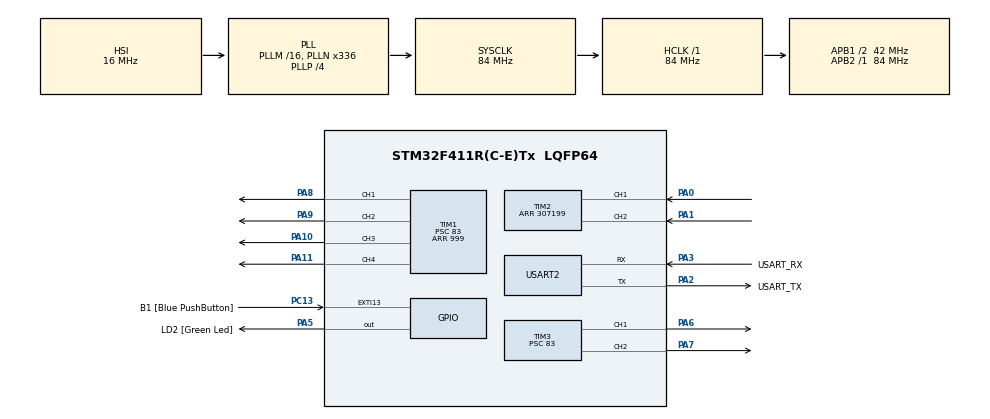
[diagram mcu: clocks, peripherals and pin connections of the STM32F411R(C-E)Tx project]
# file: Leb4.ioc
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Mcu.Family=STM32F4
Mcu.Name=STM32F411R(C-E)Tx
Mcu.Package=LQFP64
Mcu.UserConstants=A,307199
NVIC.PriorityGroup=NVIC_PRIORITYGROUP_0
NVIC.TIM5_IRQn=true\:0\:0\:false\:false\:true\:true\:true\:true
PA0-WKUP.Signal=S_TIM2_CH1_ETR
PA1.Signal=S_TIM2_CH2
PA10.Signal=S_TIM1_CH3
PA11.Signal=S_TIM1_CH4
PA13.GPIO_Label=TMS
PA13.Mode=Serial_Wire
PA13.Signal=SYS_JTMS-SWDIO
PA14.GPIO_Label=TCK
PA14.Mode=Serial_Wire
PA14.Signal=SYS_JTCK-SWCLK
PA2.GPIO_Label=USART_TX
PA2.Mode=Asynchronous
PA2.Signal=USART2_TX
PA3.GPIO_Label=USART_RX
PA3.Mode=Asynchronous
PA3.Signal=USART2_RX
PA5.GPIO_Label=LD2 [Green Led]
PA5.Signal=GPIO_Output
PA6.Signal=S_TIM3_CH1
PA7.Signal=S_TIM3_CH2
PA8.Signal=S_TIM1_CH1
PA9.Signal=S_TIM1_CH2
PB3.GPIO_Label=SWO
PB3.Signal=SYS_JTDO-SWO
PC13-ANTI_TAMP.GPIO_Label=B1 [Blue PushButton]
PC13-ANTI_TAMP.GPIO_ModeDefaultEXTI=GPIO_MODE_IT_FALLING
PC13-ANTI_TAMP.Signal=GPXTI13
PC14-OSC32_IN.Mode=LSE-External-Oscillator
PC14-OSC32_IN.Signal=RCC_OSC32_IN
PC15-OSC32_OUT.Mode=LSE-External-Oscillator
PC15-OSC32_OUT.Signal=RCC_OSC32_OUT
PH0\ -\ OSC_IN.Mode=HSE-External-Clock-Source
PH0\ -\ OSC_IN.Signal=RCC_OSC_IN
PH1\ -\ OSC_OUT.Mode=HSE-External-Clock-Source
PH1\ -\ OSC_OUT.Signal=RCC_OSC_OUT
ProjectManager.HeapSize=0x200
ProjectManager.StackSize=0x400
ProjectManager.TargetToolchain=STM32CubeIDE
RCC.48MHZClocksFreq_Value=84000000
RCC.AHBFreq_Value=84000000
RCC.APB1CLKDivider=RCC_HCLK_DIV2
RCC.APB1Freq_Value=42000000
RCC.APB1TimFreq_Value=84000000
RCC.APB2Freq_Value=84000000
RCC.APB2TimFreq_Value=84000000
RCC.CortexFreq_Value=84000000
RCC.FLatency-AdvancedSettings=FLASH_LATENCY_2
RCC.HCLKFreq_Value=84000000
RCC.HSE_VALUE=8000000
RCC.HSI_VALUE=16000000
RCC.PLLN=336
RCC.PLLP=RCC_PLLP_DIV4
RCC.SYSCLKFreq_VALUE=84000000
RCC.SYSCLKSource=RCC_SYSCLKSOURCE_PLLCLK
RCC.VCOOutputFreq_Value=336000000
SH.S_TIM1_CH1.0=TIM1_CH1,PWM Generation1 CH1
SH.S_TIM1_CH2.0=TIM1_CH2,PWM Generation2 CH2
SH.S_TIM1_CH3.0=TIM1_CH3,PWM Generation3 CH3
SH.S_TIM1_CH4.0=TIM1_CH4,PWM Generation4 CH4
SH.S_TIM2_CH1_ETR.0=TIM2_CH1,Encoder_Interface
SH.S_TIM2_CH2.0=TIM2_CH2,Encoder_Interface
SH.S_TIM3_CH1.0=TIM3_CH1,PWM Generation1 CH1
SH.S_TIM3_CH2.0=TIM3_CH2,PWM Generation2 CH2
TIM1.Channel-PWM\ Generation1\ CH1=TIM_CHANNEL_1
TIM1.Channel-PWM\ Generation2\ CH2=TIM_CHANNEL_2
TIM1.Channel-PWM\ Generation3\ CH3=TIM_CHANNEL_3
TIM1.Channel-PWM\ Generation4\ CH4=TIM_CHANNEL_4
TIM1.Period=999
TIM1.Prescaler=83
TIM1.Pulse-PWM\ Generation1\ CH1=1000
TIM1.Pulse-PWM\ Generation3\ CH3=500
TIM1.Pulse-PWM\ Generation4\ CH4=500
TIM2.EncoderMode=TIM_ENCODERMODE_TI12
TIM2.Period=307199
TIM3.Channel-PWM\ Generation1\ CH1=TIM_CHANNEL_1
TIM3.Channel-PWM\ Generation2\ CH2=TIM_CHANNEL_2
TIM3.Period=999
TIM3.Prescaler=83
USART2.VirtualMode=VM_ASYNC
VP_TIM1_VS_ClockSourceINT.Mode=Internal
VP_TIM3_VS_ClockSourceINT.Mode=Internal
VP_TIM5_VS_ClockSourceINT.Mode=Internal
board=NUCLEO-F411RE

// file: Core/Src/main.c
/* USER CODE BEGIN Header */
/**
  ******************************************************************************
  * @file           : main.c
  * @brief          : Main program body
  ******************************************************************************
  * @attention
  *
  * Copyright (c) 2023 STMicroelectronics.
  * All rights reserved.
  *
  * This software is licensed under terms that can be found in the LICENSE file
  * in the root directory of this software component.
  * If no LICENSE file comes with this software, it is provided AS-IS.
  *
  ******************************************************************************
  */
/* USER CODE END Header */
#include "main.h"

/* USER CODE BEGIN Includes */
#include "arm_math.h"
/* USER CODE END Includes */

TIM_HandleTypeDef htim1;
TIM_HandleTypeDef htim2;
TIM_HandleTypeDef htim3;
TIM_HandleTypeDef htim5;

UART_HandleTypeDef huart2;

/* USER CODE BEGIN PV */
uint32_t QEIReadRaw;
arm_pid_instance_f32 PID = {0};
float position = 0;
float setposition = 0;
float pwmfirst = 0 ;
uint16_t p;
 //counter 999
/* USER CODE END PV */

void SystemClock_Config(void);
static void MX_GPIO_Init(void);
static void MX_USART2_UART_Init(void);
static void MX_TIM2_Init(void);
static void MX_TIM5_Init(void);
static void MX_TIM1_Init(void);
static void MX_TIM3_Init(void);

int main(void)
{

  /* MCU Configuration--------------------------------------------------------*/

  /* Reset of all peripherals, Initializes the Flash interface and the Systick. */

	HAL_Init();

  /* Configure the system clock */
  SystemClock_Config();

  /* Initialize all configured peripherals */
  MX_GPIO_Init();
  MX_USART2_UART_Init();
  MX_TIM2_Init();
  MX_TIM5_Init();
  MX_TIM1_Init();
  MX_TIM3_Init();
  /* USER CODE BEGIN 2 */
  PID.Kp = 10;
  PID.Ki = 0.0000001;
  PID.Kd = 1;
  arm_pid_init_f32(&PID,0);
  HAL_TIM_Encoder_Start(&htim2,TIM_CHANNEL_1|TIM_CHANNEL_2);
  HAL_TIM_Base_Start(&htim1); //
  HAL_TIM_PWM_Start(&htim1, TIM_CHANNEL_3);
  HAL_TIM_PWM_Start(&htim1, TIM_CHANNEL_4);

  /* USER CODE END 2 */

  /* Infinite loop */
  while (1)
  {

    /* USER CODE BEGIN 3 */
	  static uint32_t timestamp = 0;
	  if (timestamp <= HAL_GetTick() )
	  {
		  timestamp = HAL_GetTick()+10;

		  QEIReadRaw = __HAL_TIM_GET_COUNTER(&htim2);
		  position = QEIReadRaw*360/3072.0;

		  pwmfirst = arm_pid_f32 (&PID, setposition-position);
//		  __HAL_TIM_SET_COMPARE(&htim1, TIM_CHANNEL_3, pwmfirst);
//		  __HAL_TIM_SET_COMPARE(&htim1, TIM_CHANNEL_4,0);

		  if (pwmfirst>=999)
		  {
			  pwmfirst = 1000;
		  }
		  else if (pwmfirst<=-999)
		  {
			  pwmfirst  = -1000;
		  }
		  if (position < setposition)
		  {
			  __HAL_TIM_SET_COMPARE(&htim1, TIM_CHANNEL_3,pwmfirst);
			  __HAL_TIM_SET_COMPARE(&htim1, TIM_CHANNEL_4,0);
			  p = 1;
		  }
		  else if (position > setposition)
		  {

			  __HAL_TIM_SET_COMPARE(&htim1, TIM_CHANNEL_3,0);
			  __HAL_TIM_SET_COMPARE(&htim1, TIM_CHANNEL_4,pwmfirst*-1);
			  p = 2;
		  }
		  else if (position+2 == 36000)
		  {
			  __HAL_TIM_SET_COMPARE(&htim1, TIM_CHANNEL_3,0);
			  __HAL_TIM_SET_COMPARE(&htim1, TIM_CHANNEL_4,0);
		  }
		  else if ((position) == (setposition-2))
		  {
			  __HAL_TIM_SET_COMPARE(&htim1, TIM_CHANNEL_3,0);
			  __HAL_TIM_SET_COMPARE(&htim1, TIM_CHANNEL_4,0);
		  }

	  }

  }
  /* USER CODE END 3 */
}

void SystemClock_Config(void)
{
  RCC_OscInitTypeDef RCC_OscInitStruct = {0};
  RCC_ClkInitTypeDef RCC_ClkInitStruct = {0};

  /** Configure the main internal regulator output voltage
  */
  __HAL_RCC_PWR_CLK_ENABLE();
  __HAL_PWR_VOLTAGESCALING_CONFIG(PWR_REGULATOR_VOLTAGE_SCALE1);

  /** Initializes the RCC Oscillators according to the specified parameters
  * in the RCC_OscInitTypeDef structure.
  */
  RCC_OscInitStruct.OscillatorType = RCC_OSCILLATORTYPE_HSI;
  RCC_OscInitStruct.HSIState = RCC_HSI_ON;
  RCC_OscInitStruct.HSICalibrationValue = RCC_HSICALIBRATION_DEFAULT;
  RCC_OscInitStruct.PLL.PLLState = RCC_PLL_ON;
  RCC_OscInitStruct.PLL.PLLSource = RCC_PLLSOURCE_HSI;
  RCC_OscInitStruct.PLL.PLLM = 16;
  RCC_OscInitStruct.PLL.PLLN = 336;
  RCC_OscInitStruct.PLL.PLLP = RCC_PLLP_DIV4;
  RCC_OscInitStruct.PLL.PLLQ = 4;
  if (HAL_RCC_OscConfig(&RCC_OscInitStruct) != HAL_OK)
  {
    Error_Handler();
  }

  /** Initializes the CPU, AHB and APB buses clocks
  */
  RCC_ClkInitStruct.ClockType = RCC_CLOCKTYPE_HCLK|RCC_CLOCKTYPE_SYSCLK
                              |RCC_CLOCKTYPE_PCLK1|RCC_CLOCKTYPE_PCLK2;
  RCC_ClkInitStruct.SYSCLKSource = RCC_SYSCLKSOURCE_PLLCLK;
  RCC_ClkInitStruct.AHBCLKDivider = RCC_SYSCLK_DIV1;
  RCC_ClkInitStruct.APB1CLKDivider = RCC_HCLK_DIV2;
  RCC_ClkInitStruct.APB2CLKDivider = RCC_HCLK_DIV1;

  if (HAL_RCC_ClockConfig(&RCC_ClkInitStruct, FLASH_LATENCY_2) != HAL_OK)
  {
    Error_Handler();
  }
}

static void MX_TIM1_Init(void)
{

  TIM_ClockConfigTypeDef sClockSourceConfig = {0};
  TIM_MasterConfigTypeDef sMasterConfig = {0};
  TIM_OC_InitTypeDef sConfigOC = {0};
  TIM_BreakDeadTimeConfigTypeDef sBreakDeadTimeConfig = {0};

  htim1.Instance = TIM1;
  htim1.Init.Prescaler = 83;
  htim1.Init.CounterMode = TIM_COUNTERMODE_UP;
  htim1.Init.Period = 999;
  htim1.Init.ClockDivision = TIM_CLOCKDIVISION_DIV1;
  htim1.Init.RepetitionCounter = 0;
  htim1.Init.AutoReloadPreload = TIM_AUTORELOAD_PRELOAD_DISABLE;
  if (HAL_TIM_Base_Init(&htim1) != HAL_OK)
  {
    Error_Handler();
  }
  sClockSourceConfig.ClockSource = TIM_CLOCKSOURCE_INTERNAL;
  if (HAL_TIM_ConfigClockSource(&htim1, &sClockSourceConfig) != HAL_OK)
  {
    Error_Handler();
  }
  if (HAL_TIM_PWM_Init(&htim1) != HAL_OK)
  {
    Error_Handler();
  }
  sMasterConfig.MasterOutputTrigger = TIM_TRGO_RESET;
  sMasterConfig.MasterSlaveMode = TIM_MASTERSLAVEMODE_DISABLE;
  if (HAL_TIMEx_MasterConfigSynchronization(&htim1, &sMasterConfig) != HAL_OK)
  {
    Error_Handler();
  }
  sConfigOC.OCMode = TIM_OCMODE_PWM1;
  sConfigOC.Pulse = 1000;
  sConfigOC.OCPolarity = TIM_OCPOLARITY_HIGH;
  sConfigOC.OCNPolarity = TIM_OCNPOLARITY_HIGH;
  sConfigOC.OCFastMode = TIM_OCFAST_DISABLE;
  sConfigOC.OCIdleState = TIM_OCIDLESTATE_RESET;
  sConfigOC.OCNIdleState = TIM_OCNIDLESTATE_RESET;
  if (HAL_TIM_PWM_ConfigChannel(&htim1, &sConfigOC, TIM_CHANNEL_1) != HAL_OK)
  {
    Error_Handler();
  }
  sConfigOC.Pulse = 0;
  if (HAL_TIM_PWM_ConfigChannel(&htim1, &sConfigOC, TIM_CHANNEL_2) != HAL_OK)
  {
    Error_Handler();
  }
  sConfigOC.Pulse = 500;
  if (HAL_TIM_PWM_ConfigChannel(&htim1, &sConfigOC, TIM_CHANNEL_3) != HAL_OK)
  {
    Error_Handler();
  }
  if (HAL_TIM_PWM_ConfigChannel(&htim1, &sConfigOC, TIM_CHANNEL_4) != HAL_OK)
  {
    Error_Handler();
  }
  sBreakDeadTimeConfig.OffStateRunMode = TIM_OSSR_DISABLE;
  sBreakDeadTimeConfig.OffStateIDLEMode = TIM_OSSI_DISABLE;
  sBreakDeadTimeConfig.LockLevel = TIM_LOCKLEVEL_OFF;
  sBreakDeadTimeConfig.DeadTime = 0;
  sBreakDeadTimeConfig.BreakState = TIM_BREAK_DISABLE;
  sBreakDeadTimeConfig.BreakPolarity = TIM_BREAKPOLARITY_HIGH;
  sBreakDeadTimeConfig.AutomaticOutput = TIM_AUTOMATICOUTPUT_DISABLE;
  if (HAL_TIMEx_ConfigBreakDeadTime(&htim1, &sBreakDeadTimeConfig) != HAL_OK)
  {
    Error_Handler();
  }
  HAL_TIM_MspPostInit(&htim1);

}

static void MX_TIM2_Init(void)
{

  TIM_Encoder_InitTypeDef sConfig = {0};
  TIM_MasterConfigTypeDef sMasterConfig = {0};

  htim2.Instance = TIM2;
  htim2.Init.Prescaler = 0;
  htim2.Init.CounterMode = TIM_COUNTERMODE_UP;
  htim2.Init.Period = 307199;
  htim2.Init.ClockDivision = TIM_CLOCKDIVISION_DIV1;
  htim2.Init.AutoReloadPreload = TIM_AUTORELOAD_PRELOAD_DISABLE;
  sConfig.EncoderMode = TIM_ENCODERMODE_TI12;
  sConfig.IC1Polarity = TIM_ICPOLARITY_RISING;
  sConfig.IC1Selection = TIM_ICSELECTION_DIRECTTI;
  sConfig.IC1Prescaler = TIM_ICPSC_DIV1;
  sConfig.IC1Filter = 0;
  sConfig.IC2Polarity = TIM_ICPOLARITY_RISING;
  sConfig.IC2Selection = TIM_ICSELECTION_DIRECTTI;
  sConfig.IC2Prescaler = TIM_ICPSC_DIV1;
  sConfig.IC2Filter = 0;
  if (HAL_TIM_Encoder_Init(&htim2, &sConfig) != HAL_OK)
  {
    Error_Handler();
  }
  sMasterConfig.MasterOutputTrigger = TIM_TRGO_RESET;
  sMasterConfig.MasterSlaveMode = TIM_MASTERSLAVEMODE_DISABLE;
  if (HAL_TIMEx_MasterConfigSynchronization(&htim2, &sMasterConfig) != HAL_OK)
  {
    Error_Handler();
  }

}

static void MX_TIM3_Init(void)
{

  TIM_ClockConfigTypeDef sClockSourceConfig = {0};
  TIM_MasterConfigTypeDef sMasterConfig = {0};
  TIM_OC_InitTypeDef sConfigOC = {0};

  htim3.Instance = TIM3;
  htim3.Init.Prescaler = 83;
  htim3.Init.CounterMode = TIM_COUNTERMODE_UP;
  htim3.Init.Period = 999;
  htim3.Init.ClockDivision = TIM_CLOCKDIVISION_DIV1;
  htim3.Init.AutoReloadPreload = TIM_AUTORELOAD_PRELOAD_DISABLE;
  if (HAL_TIM_Base_Init(&htim3) != HAL_OK)
  {
    Error_Handler();
  }
  sClockSourceConfig.ClockSource = TIM_CLOCKSOURCE_INTERNAL;
  if (HAL_TIM_ConfigClockSource(&htim3, &sClockSourceConfig) != HAL_OK)
  {
    Error_Handler();
  }
  if (HAL_TIM_PWM_Init(&htim3) != HAL_OK)
  {
    Error_Handler();
  }
  sMasterConfig.MasterOutputTrigger = TIM_TRGO_RESET;
  sMasterConfig.MasterSlaveMode = TIM_MASTERSLAVEMODE_DISABLE;
  if (HAL_TIMEx_MasterConfigSynchronization(&htim3, &sMasterConfig) != HAL_OK)
  {
    Error_Handler();
  }
  sConfigOC.OCMode = TIM_OCMODE_PWM1;
  sConfigOC.Pulse = 0;
  sConfigOC.OCPolarity = TIM_OCPOLARITY_HIGH;
  sConfigOC.OCFastMode = TIM_OCFAST_DISABLE;
  if (HAL_TIM_PWM_ConfigChannel(&htim3, &sConfigOC, TIM_CHANNEL_1) != HAL_OK)
  {
    Error_Handler();
  }
  if (HAL_TIM_PWM_ConfigChannel(&htim3, &sConfigOC, TIM_CHANNEL_2) != HAL_OK)
  {
    Error_Handler();
  }
  HAL_TIM_MspPostInit(&htim3);

}

static void MX_TIM5_Init(void)
{

  TIM_ClockConfigTypeDef sClockSourceConfig = {0};
  TIM_MasterConfigTypeDef sMasterConfig = {0};

  htim5.Instance = TIM5;
  htim5.Init.Prescaler = 0;
  htim5.Init.CounterMode = TIM_COUNTERMODE_UP;
  htim5.Init.Period = 4294967295;
  htim5.Init.ClockDivision = TIM_CLOCKDIVISION_DIV1;
  htim5.Init.AutoReloadPreload = TIM_AUTORELOAD_PRELOAD_DISABLE;
  if (HAL_TIM_Base_Init(&htim5) != HAL_OK)
  {
    Error_Handler();
  }
  sClockSourceConfig.ClockSource = TIM_CLOCKSOURCE_INTERNAL;
  if (HAL_TIM_ConfigClockSource(&htim5, &sClockSourceConfig) != HAL_OK)
  {
    Error_Handler();
  }
  sMasterConfig.MasterOutputTrigger = TIM_TRGO_RESET;
  sMasterConfig.MasterSlaveMode = TIM_MASTERSLAVEMODE_DISABLE;
  if (HAL_TIMEx_MasterConfigSynchronization(&htim5, &sMasterConfig) != HAL_OK)
  {
    Error_Handler();
  }

}

static void MX_USART2_UART_Init(void)
{

  huart2.Instance = USART2;
  huart2.Init.BaudRate = 115200;
  huart2.Init.WordLength = UART_WORDLENGTH_8B;
  huart2.Init.StopBits = UART_STOPBITS_1;
  huart2.Init.Parity = UART_PARITY_NONE;
  huart2.Init.Mode = UART_MODE_TX_RX;
  huart2.Init.HwFlowCtl = UART_HWCONTROL_NONE;
  huart2.Init.OverSampling = UART_OVERSAMPLING_16;
  if (HAL_UART_Init(&huart2) != HAL_OK)
  {
    Error_Handler();
  }

}

static void MX_GPIO_Init(void)
{
  GPIO_InitTypeDef GPIO_InitStruct = {0};

  /* GPIO Ports Clock Enable */
  __HAL_RCC_GPIOC_CLK_ENABLE();
  __HAL_RCC_GPIOH_CLK_ENABLE();
  __HAL_RCC_GPIOA_CLK_ENABLE();
  __HAL_RCC_GPIOB_CLK_ENABLE();

  /*Configure GPIO pin Output Level */
  HAL_GPIO_WritePin(LD2_GPIO_Port, LD2_Pin, GPIO_PIN_RESET);

  /*Configure GPIO pin : B1_Pin */
  GPIO_InitStruct.Pin = B1_Pin;
  GPIO_InitStruct.Mode = GPIO_MODE_IT_FALLING;
  GPIO_InitStruct.Pull = GPIO_NOPULL;
  HAL_GPIO_Init(B1_GPIO_Port, &GPIO_InitStruct);

  /*Configure GPIO pin : LD2_Pin */
  GPIO_InitStruct.Pin = LD2_Pin;
  GPIO_InitStruct.Mode = GPIO_MODE_OUTPUT_PP;
  GPIO_InitStruct.Pull = GPIO_NOPULL;
  GPIO_InitStruct.Speed = GPIO_SPEED_FREQ_LOW;
  HAL_GPIO_Init(LD2_GPIO_Port, &GPIO_InitStruct);

}

void Error_Handler(void)
{
  __disable_irq();
  while (1)
  {
  }
}
